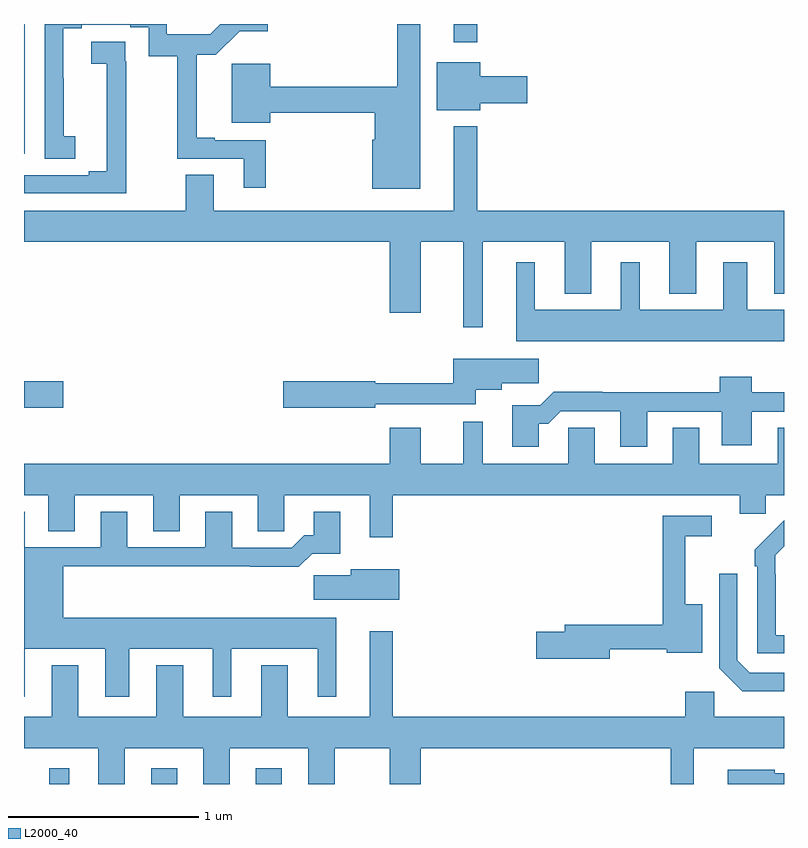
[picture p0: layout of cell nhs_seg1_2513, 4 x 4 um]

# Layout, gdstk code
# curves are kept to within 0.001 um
import gdstk
lib = gdstk.Library(unit=1e-6, precision=1e-09)
def R(c, l, rs):  # rectangles x0, y0, x1, y1
    for r in rs: c.add(gdstk.rectangle(r[:2], r[2:], *l))
def P(c, l, *ps):  # polygons
    for p in ps: c.add(gdstk.Polygon(p, *l))
L2000_40 = (2000, 40)

nhs_seg1_2513 = lib.new_cell('nhs_seg1_2513')
R(nhs_seg1_2513, L2000_40, [(247.133,562.199,247.237,562.282), (247.67,562.199,247.807,562.282), (248.219,562.199,248.356,562.282), (247,564.178,247.207,564.32), (247,565.515,247.003,566.199), (249.263,566.103,249.385,566.199)])
P(nhs_seg1_2513, L2000_40, [(248.273,565.587),(248.005,565.587),(248.005,565.6),(247.91,565.6),(247.91,566.037),(248.009,566.037),(248.135,566.162),(248.284,566.162),(248.284,566.199),(248.034,566.199),(247.981,566.146),(247.752,566.146),(247.752,566.199),(247.11,566.199),(247.11,565.489),(247.27,565.489),(247.27,565.609),(247.209,565.609),(247.209,565.913),(247.207,565.913),(247.207,566.176),(247.303,566.176),(247.303,566.196),(247.559,566.196),(247.559,566.182),(247.656,566.182),(247.656,566.029),(247.807,566.029),(247.807,565.491),(248.156,565.491),(248.156,565.338),(248.273,565.338)],
  [(249.085,566.199),(248.964,566.199),(248.964,565.868),(248.296,565.868),(248.296,565.989),(248.093,565.989),(248.093,565.679),(248.296,565.679),(248.296,565.732),(248.846,565.732),(248.846,565.59),(248.834,565.59),(248.834,565.331),(249.085,565.331)],
  [(247.538,566.003),(247.532,566.003),(247.532,566.105),(247.353,566.105),(247.353,565.99),(247.435,565.99),(247.435,565.707),(247.436,565.707),(247.436,565.424),(247.34,565.424),(247.34,565.404),(247,565.404),(247,565.308),(247.538,565.308)],
  [(249.4,565.781),(249.649,565.781),(249.649,565.923),(249.4,565.923),(249.4,565.999),(249.173,565.999),(249.173,565.745),(249.4,565.745)],
  [(249.415,565.052),(249.845,565.052),(249.845,564.779),(249.985,564.779),(249.985,565.052),(250.397,565.052),(250.397,564.779),(250.537,564.779),(250.537,565.052),(250.949,565.052),(250.949,564.779),(251,564.779),(251,565.216),(249.385,565.216),(249.385,565.66),(249.263,565.66),(249.263,565.216),(247.999,565.216),(247.999,565.406),(247.852,565.406),(247.852,565.216),(247,565.216),(247,565.052),(248.924,565.052),(248.924,564.678),(249.088,564.678),(249.088,565.052),(249.311,565.052),(249.311,564.603),(249.415,564.603)],
  [(251,564.694),(250.807,564.694),(250.807,564.946),(250.679,564.946),(250.679,564.694),(250.24,564.694),(250.24,564.946),(250.142,564.946),(250.142,564.694),(249.688,564.694),(249.688,564.946),(249.59,564.946),(249.59,564.53),(251,564.53)],
  [(248.848,564.198),(249.377,564.198),(249.377,564.275),(249.514,564.275),(249.514,564.307),(249.709,564.307),(249.709,564.436),(249.259,564.436),(249.259,564.307),(248.848,564.307),(248.848,564.32),(248.364,564.32),(248.364,564.178),(248.848,564.178)],
  [(249.709,564.095),(249.758,564.095),(249.825,564.162),(250.139,564.162),(250.139,563.973),(250.279,563.973),(250.279,564.159),(250.673,564.159),(250.673,563.981),(250.831,563.981),(250.831,564.159),(251,564.159),(251,564.26),(250.831,564.26),(250.831,564.343),(250.661,564.343),(250.661,564.26),(250.043,564.26),(250.043,564.263),(249.788,564.263),(249.718,564.193),(249.569,564.193),(249.569,563.973),(249.709,563.973)],
  [(248.941,563.72),(250.766,563.72),(250.766,563.622),(250.905,563.622),(250.905,563.72),(251,563.72),(251,564.074),(250.967,564.074),(250.967,563.884),(250.555,563.884),(250.555,564.074),(250.415,564.074),(250.415,563.884),(250.003,563.884),(250.003,564.074),(249.864,564.074),(249.864,563.884),(249.415,563.884),(249.415,564.106),(249.311,564.106),(249.311,563.884),(249.088,563.884),(249.088,564.073),(248.924,564.073),(248.924,563.884),(247,563.884),(247,563.72),(247.127,563.72),(247.127,563.53),(247.267,563.53),(247.267,563.72),(247.679,563.72),(247.679,563.53),(247.819,563.53),(247.819,563.72),(248.231,563.72),(248.231,563.53),(248.37,563.53),(248.37,563.72),(248.819,563.72),(248.819,563.499),(248.941,563.499)],
  [(247.003,562.91),(247.427,562.91),(247.427,562.659),(247.555,562.659),(247.555,562.91),(247.994,562.91),(247.994,562.659),(248.092,562.659),(248.092,562.91),(248.546,562.91),(248.546,562.659),(248.644,562.659),(248.644,563.074),(247.207,563.074),(247.207,563.344),(248.191,563.344),(248.191,563.342),(248.447,563.342),(248.516,563.411),(248.665,563.411),(248.665,563.632),(248.525,563.632),(248.525,563.509),(248.476,563.509),(248.409,563.442),(248.095,563.442),(248.095,563.632),(247.955,563.632),(247.955,563.445),(247.543,563.445),(247.543,563.632),(247.403,563.632),(247.403,563.445),(247.003,563.445),(247.003,563.632),(247,563.632),(247,562.659),(247.003,562.659)],
  [(250.084,562.908),(250.382,562.908),(250.382,562.889),(250.57,562.889),(250.57,563.146),(250.481,563.146),(250.481,563.502),(250.621,563.502),(250.621,563.61),(250.363,563.61),(250.363,563.036),(249.845,563.036),(249.845,563),(249.696,563),(249.696,562.858),(250.084,562.858)],
  [(251,562.983),(250.956,562.983),(250.956,563.303),(250.953,563.303),(250.953,563.403),(251,563.45),(251,563.586),(250.845,563.433),(250.845,563.345),(250.86,563.345),(250.86,562.887),(251,562.887)],
  [(248.974,563.329),(248.72,563.329),(248.72,563.297),(248.526,563.297),(248.526,563.168),(248.974,563.168)],
  [(251,562.785),(250.821,562.785),(250.755,562.851),(250.755,563.305),(250.659,563.305),(250.659,562.809),(250.78,562.688),(251,562.688)],
  [(250.481,562.552),(248.941,562.552),(248.941,563.002),(248.819,563.002),(248.819,562.552),(248.389,562.552),(248.389,562.825),(248.249,562.825),(248.249,562.552),(247.837,562.552),(247.837,562.825),(247.697,562.825),(247.697,562.552),(247.285,562.552),(247.285,562.825),(247.145,562.825),(247.145,562.552),(247,562.552),(247,562.388),(247.391,562.388),(247.391,562.199),(247.531,562.199),(247.531,562.388),(247.943,562.388),(247.943,562.199),(248.083,562.199),(248.083,562.388),(248.495,562.388),(248.495,562.199),(248.635,562.199),(248.635,562.388),(248.924,562.388),(248.924,562.199),(249.088,562.199),(249.088,562.388),(250.404,562.388),(250.404,562.199),(250.525,562.199),(250.525,562.388),(251,562.388),(251,562.552),(250.632,562.552),(250.632,562.684),(250.481,562.684)],
  [(251,562.255),(250.95,562.255),(250.95,562.273),(250.703,562.273),(250.703,562.199),(251,562.199)])

lib.write_gds('nhs_seg1_2513.gds')
